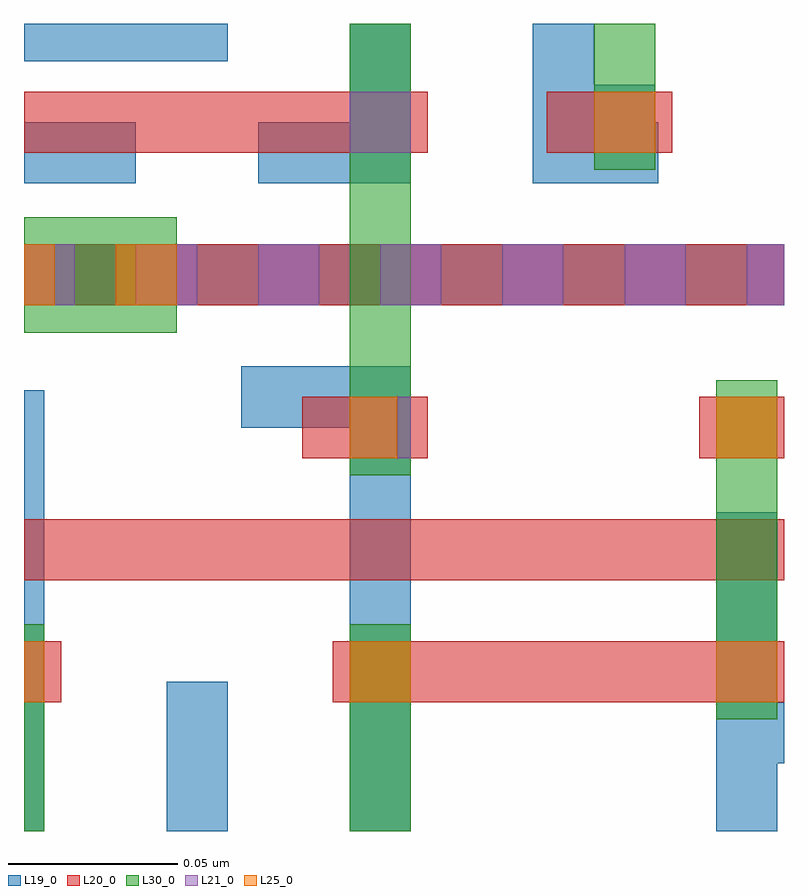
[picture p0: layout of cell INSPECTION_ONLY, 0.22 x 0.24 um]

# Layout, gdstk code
import gdstk
lib = gdstk.Library(unit=1e-6, precision=2.5e-10)
def R(c, l, rs):  # rectangles x0, y0, x1, y1
    for r in rs: c.add(gdstk.rectangle(r[:2], r[2:], *l))
def A(c, l, x, y, w, h, nx, ny, dx, dy):  # array of equal rectangles
    R(c, l, [(x+i*dx, y+j*dy, x+i*dx+w, y+j*dy+h) for i in range(nx) for j in range(ny)])
def P(c, l, *ps):  # polygons
    for p in ps: c.add(gdstk.Polygon(p, *l))
L19_0 = (19, 0)
L20_0 = (20, 0)
L21_0 = (21, 0)
L25_0 = (25, 0)
L30_0 = (30, 0)

inspection_only = lib.new_cell('INSPECTION_ONLY')
R(inspection_only, L19_0, [(6.78,1.996,6.786,2.126), (6.822,1.996,6.84,2.04), (6.78,2.032,6.786,2.054), (6.984,2.032,7.002,2.054), (6.876,2.104,6.894,2.126), (6.78,2.151,7.004,2.169), (6.78,2.151,7.004,2.169), (6.78,2.151,6.912,2.169), (6.78,2.151,6.912,2.169), (6.912,2.151,7.004,2.169), (6.912,2.151,6.966,2.169), (6.966,2.151,7.004,2.169), (6.78,2.187,6.813,2.205), (6.876,2.194,6.894,2.216), (6.948,2.194,6.966,2.216), (6.78,2.223,6.84,2.234)])
P(inspection_only, L19_0, [(6.876,1.996),(6.876,2.115),(6.844,2.115),(6.844,2.133),(6.894,2.133),(6.894,1.996)],
  [(6.849,2.187),(6.849,2.205),(6.876,2.205),(6.876,2.234),(6.894,2.234),(6.894,2.187)],
  [(6.93,2.187),(6.93,2.234),(6.948,2.234),(6.948,2.205),(6.967,2.205),(6.967,2.187)],
  [(6.984,1.996),(6.984,2.09),(7.002,2.09),(7.002,2.034),(7.004,2.034),(7.004,2.016),(7.002,2.016),(7.002,1.996)])
R(inspection_only, L20_0, [(6.78,2.034,6.791,2.052), (6.871,2.034,7.004,2.052), (6.78,2.07,7.004,2.088), (6.862,2.106,6.899,2.124), (6.979,2.106,7.004,2.124), (6.78,2.151,7.004,2.169), (6.78,2.196,6.899,2.214), (6.934,2.196,6.971,2.214)])
A(inspection_only, L21_0, 6.813, 2.151, 0.018, 0.018, 5, 1, 0.036, 0)
R(inspection_only, L21_0, [(6.78,2.034,6.786,2.052), (6.984,2.034,7.002,2.052), (6.876,2.106,6.894,2.124), (6.78,2.151,6.795,2.169), (6.993,2.151,7.004,2.169), (6.876,2.196,6.894,2.214), (6.948,2.196,6.966,2.214)])
R(inspection_only, L25_0, [(6.78,2.034,6.786,2.052), (6.876,2.034,6.894,2.052), (6.984,2.034,7.002,2.052), (6.876,2.106,6.89,2.124), (6.984,2.106,7.002,2.124), (6.78,2.151,6.789,2.169), (6.807,2.151,6.825,2.169), (6.948,2.196,6.966,2.214)])
R(inspection_only, L30_0, [(6.78,1.996,6.786,2.057), (6.876,1.996,6.894,2.057), (6.984,2.029,7.002,2.129), (6.876,2.101,6.894,2.234), (6.78,2.143,6.825,2.177), (6.948,2.191,6.966,2.234)])

lib.write_gds('INSPECTION_ONLY.gds')
